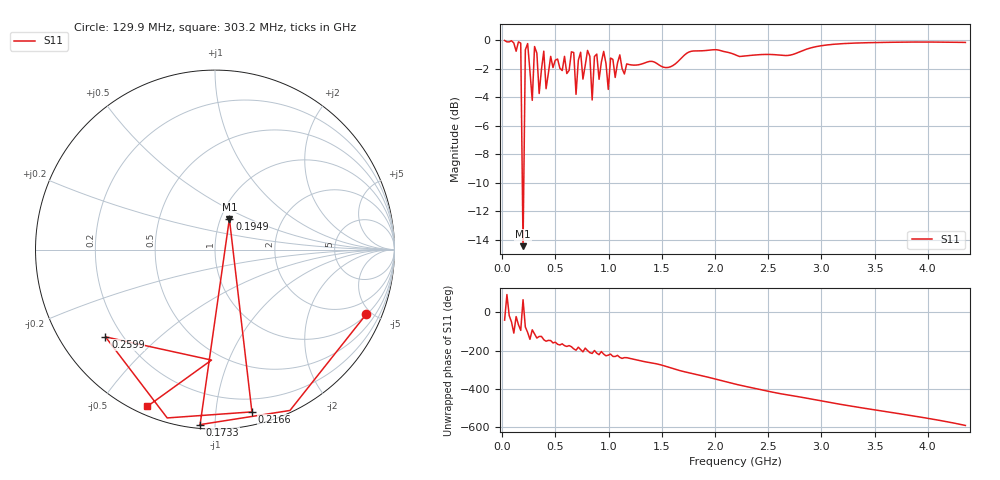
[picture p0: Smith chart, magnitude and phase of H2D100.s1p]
!Keysight Technologies N9923A: A.08.19
!Date: Thursday, 16 January 2020 11:30:00
!TimeZone: (GMT-03:00) Brasilia!Model: N9923A
!Serial: MY51491501
!GPS Latitude:
!GPS Longitude:
!GPS TimeStamp: 0001-01-01 00:00:00Z
!GPS Seconds Since Last Read: 0
!CHECKSUM:1078980270
!Correction: S11(ON U)
!S1P File: Measurement: S11:
# Hz S DB R 50
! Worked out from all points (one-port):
!   201 points, 21.66 MHz to 4.353 GHz, reference 50 ohm
!   lowest |S11| = -14.5 dB at 194.9 MHz (marker M1), VSWR 1.47, Z = 55.1 + j19.6 ohm
!   |S11| at or under -10 dB: 188.1 MHz to 201.9 MHz (13.78 MHz wide, 7.07 % of centre)
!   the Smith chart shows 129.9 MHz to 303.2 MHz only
!   S11 on the Smith chart (normalised r, x): 129.9 MHz: 1.04, -4.68; 173.3 MHz: 0.02, -0.92; 194.9 MHz: 1.10, +0.39; 216.6 MHz: 0.10, -1.25; 259.9 MHz: 0.14, -0.34; 303.2 MHz: 0.04, -0.66
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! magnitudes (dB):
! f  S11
! 21.66 MHz  0.0
! 129.9 MHz  -0.8
! 173.3 MHz  -0.2
! 194.9 MHz  -14.5
! 216.6 MHz  -0.7
! 259.9 MHz  -2.2
! 281.5 MHz  -4.2
! 303.2 MHz  -0.4
! 346.5 MHz  -3.7
! 389.8 MHz  -0.8
! 411.5 MHz  -3.4
! 454.8 MHz  -1.1
! 563.1 MHz  -2.1
! 671.4 MHz  -0.8
! 693 MHz  -3.8
! 801.3 MHz  -0.7
! 844.6 MHz  -4.2
! 866.3 MHz  -1.1
! 909.6 MHz  -2.7
! 952.9 MHz  -0.8
! 996.2 MHz  -3.4
! 1.104 GHz  -1.0
! 1.646 GHz  -1.5
! 2.187 GHz  -1.0
! 2.729 GHz  -1.0
! 3.27 GHz  -0.2
! 3.812 GHz  -0.1
! 4.353 GHz  -0.1
